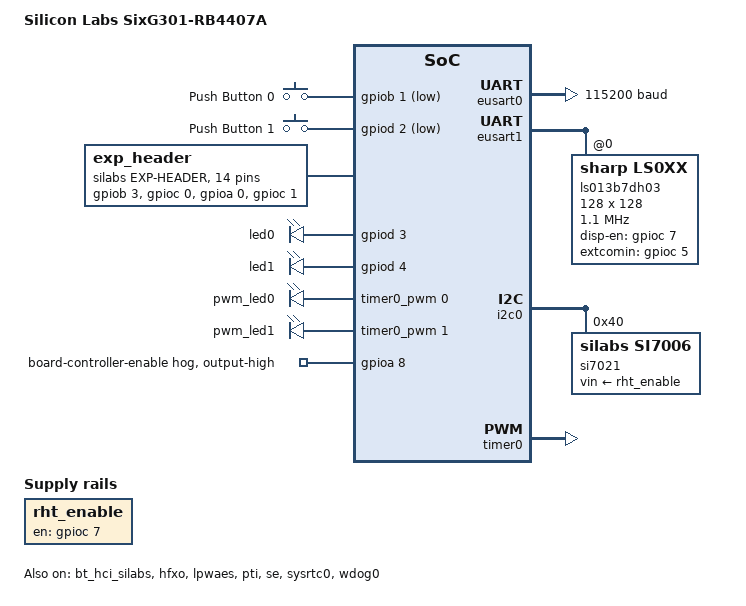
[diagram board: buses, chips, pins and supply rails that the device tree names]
/*
 * Copyright (c) 2026 Silicon Laboratories Inc.
 *
 * SPDX-License-Identifier: Apache-2.0
 */

/dts-v1/;
#include <silabs/six301/simg301m104lil.dtsi>
#include <silabs/six301/clock-hfxo.dtsi>
#include <silabs/six301/clock-socpll.dtsi>
#include <zephyr/dt-bindings/input/input-event-codes.h>
#include <zephyr/dt-bindings/pwm/pwm.h>

#include "sixg301_rb4407a-pinctrl.dtsi"

/ {
	compatible = "silabs,sixg301_rb4407a";
	model = "Silicon Labs SixG301-RB4407A";

	aliases {
		dht0 = &si7021;
		led0 = &led0;
		led1 = &led1;
		pwm-led0 = &pwm_led0;
		pwm-led1 = &pwm_led1;
		sw0 = &button0;
		sw1 = &button1;
		watchdog0 = &wdog0;
	};

	buttons {
		compatible = "gpio-keys";

		button0: button_0 {
			gpios = <&gpiob 1 GPIO_ACTIVE_LOW>;
			label = "Push Button 0";
			zephyr,code = <INPUT_BTN_0>;
		};

		button1: button_1 {
			gpios = <&gpiod 2 GPIO_ACTIVE_LOW>;
			label = "Push Button 1";
			zephyr,code = <INPUT_BTN_1>;
		};
	};

	chosen {
		zephyr,bt-hci = &bt_hci_silabs;
		zephyr,code-partition = &slot0_partition;
		zephyr,console = &eusart0;
		zephyr,display = &ls013b7dh03;
		zephyr,flash = &flash0;
		zephyr,shell-uart = &eusart0;
		zephyr,sram = &sram0;
		zephyr,uart-pipe = &eusart0;
	};

	exp_header: exp-header {
		compatible = "silabs,exp-header";
		#gpio-cells = <2>;
		gpio-map = <3 0 &gpiob 3 0>,
			   <4 0 &gpioc 0 0>,
			   <5 0 &gpioa 0 0>,
			   <6 0 &gpioc 1 0>,
			   <7 0 &gpioa 4 0>,
			   <8 0 &gpioc 2 0>,
			   <9 0 &gpioa 5 0>,
			   <10 0 &gpioc 3 0>,
			   <11 0 &gpioa 6 0>,
			   <12 0 &gpiob 2 0>,
			   <13 0 &gpioa 7 0>,
			   <14 0 &gpiob 0 0>,
			   <15 0 &gpiod 0 0>,
			   <16 0 &gpiod 1 0>;
		gpio-map-mask = <0xffffffff 0x0>;
		gpio-map-pass-thru = <0x0 GPIO_DT_FLAGS_MASK>;
	};

	leds {
		compatible = "gpio-leds";

		led0: led_0 {
			gpios = <&gpiod 3 GPIO_ACTIVE_HIGH>;
		};

		led1: led_1 {
			gpios = <&gpiod 4 GPIO_ACTIVE_HIGH>;
		};
	};

	pwmleds {
		compatible = "pwm-leds";

		pwm_led0: pwm_led_0 {
			pwms = <&timer0_pwm 0 PWM_MSEC(20) PWM_POLARITY_NORMAL>;
		};

		pwm_led1: pwm_led_1 {
			pwms = <&timer0_pwm 1 PWM_MSEC(20) PWM_POLARITY_NORMAL>;
		};
	};

	rht_enable: rht-enable {
		compatible = "regulator-fixed";
		enable-gpios = <&gpioc 7 GPIO_ACTIVE_HIGH>;
		regulator-name = "rht-enable";
	};
};

&bt_hci_silabs {
	status = "okay";
};

&eusart0 {
	current-speed = <115200>;
	pinctrl-0 = <&eusart0_default>;
	pinctrl-names = "default";
	status = "okay";
};

&eusart1 {
	#address-cells = <1>;
	#size-cells = <0>;
	clock-frequency = <DT_FREQ_M(8)>;
	cs-gpios = <&gpioc 4 GPIO_ACTIVE_HIGH>;
	pinctrl-0 = <&eusart1_default>;
	pinctrl-names = "default";
	status = "okay";

	ls013b7dh03: ls013b7dh03@0 {
		compatible = "sharp,ls0xx";
		reg = <0>;
		disp-en-gpios = <&gpioc 7 GPIO_ACTIVE_HIGH>;
		extcomin-frequency = <60>;
		extcomin-gpios = <&gpioc 5 GPIO_ACTIVE_HIGH>;
		height = <128>;
		spi-max-frequency = <DT_FREQ_K(1100)>;
		width = <128>;
	};
};

&flash0 {
	/* Adjust logical flash size to account for code regions consuming 36 kB physical flash
	 * memory per 32 kB logical memory, since the device enables AXiP for code regions by
	 * default:
	 *
	 *          | Logical | Physical
	 *     -----|---------|---------
	 *     SE   |         |  192 kB
	 *     Code | 2016 kB | 2268 kB
	 *     Data | 1636 kB | 1636 kB
	 *     -------------------------
	 *     Sum  | 3652 kB | 4096 kB
	 *
	 * If the region configuration of the device is modified, this partition table must be
	 * updated.
	 */
	reg = <0x11000000 DT_SIZE_K(3652)>;
	ranges = <0x0 0x11000000 DT_SIZE_K(3652)>;

	partitions {
		ranges;
		#address-cells = <1>;
		#size-cells = <1>;

		boot_partition: partition@0 {
			compatible = "zephyr,mapped-partition";
			reg = <0x0 DT_SIZE_K(32)>;
			label = "mcuboot";
		};

		slot0_partition: partition@8000 {
			compatible = "zephyr,mapped-partition";
			reg = <0x8000 DT_SIZE_K(1984)>;
			label = "image-0";
		};

		data_region: partition@1f8000 {
			compatible = "zephyr,mapped-partition";
			reg = <0x001f8000 DT_SIZE_K(1636)>;
			ranges = <0x0 0x001f8000 DT_SIZE_K(1636)>;
			#address-cells = <1>;
			#size-cells = <1>;

			storage_partition: partition@191000 {
				compatible = "zephyr,mapped-partition";
				reg = <0x00191000 DT_SIZE_K(32)>;
				label = "storage";
			};
		};
	};
};

&gpioa {
	status = "okay";

	board-controller-enable {
		gpio-hog;
		gpios = <8 GPIO_ACTIVE_HIGH>;
		output-high;
	};
};

&gpiob {
	status = "okay";
};

&gpioc {
	status = "okay";
};

&gpiod {
	status = "okay";
};

&hfxo {
	ctune = <225>;
	precision = <50>;
	status = "okay";
};

&i2c0 {
	pinctrl-0 = <&i2c0_default>;
	pinctrl-names = "default";
	status = "okay";

	si7021: si7021@40 {
		compatible = "silabs,si7006";
		reg = <0x40>;
		vin-supply = <&rht_enable>;
	};
};

&itm {
	pinctrl-0 = <&itm_default>;
	pinctrl-names = "default";
};

&lpwaes {
	status = "okay";
};

&pti {
	pinctrl-0 = <&pti_default>;
	pinctrl-names = "default";
	status = "okay";
};

&se {
	status = "okay";
};

&sysrtc0 {
	status = "okay";
};

&timer0 {
	status = "okay";

	timer0_pwm: pwm {
		pinctrl-0 = <&timer0_default>;
		pinctrl-names = "default";
		status = "okay";
	};
};

&wdog0 {
	status = "okay";
};
